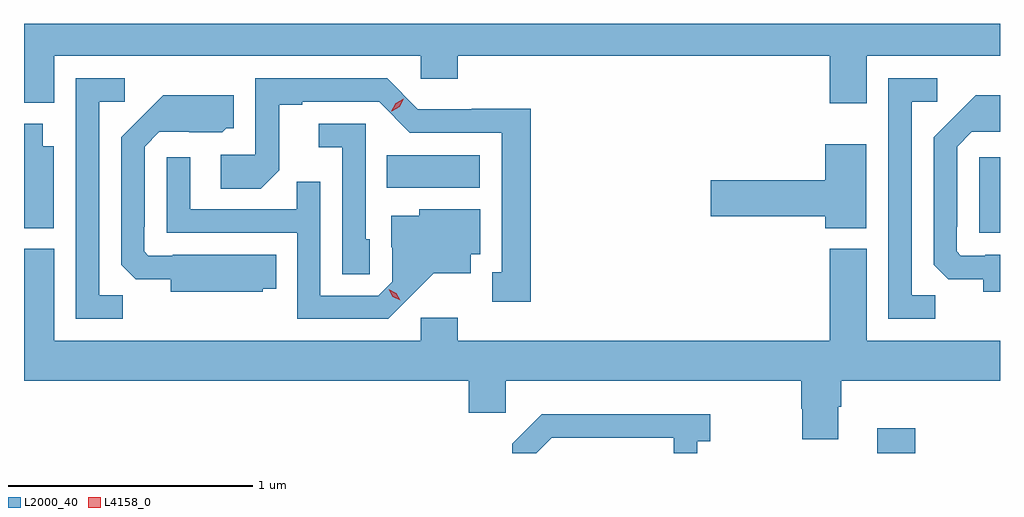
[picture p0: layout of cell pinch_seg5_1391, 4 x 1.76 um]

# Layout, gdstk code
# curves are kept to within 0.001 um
import gdstk
lib = gdstk.Library(unit=1e-6, precision=1e-09)
def R(c, l, rs):  # rectangles x0, y0, x1, y1
    for r in rs: c.add(gdstk.rectangle(r[:2], r[2:], *l))
def P(c, l, *ps):  # polygons
    for p in ps: c.add(gdstk.Polygon(p, *l))
L2000_40 = (2000, 40)
L4158_0 = (4158, 0)

pinch_seg5_1391 = lib.new_cell('pinch_seg5_1391')
R(pinch_seg5_1391, L2000_40, [(126.947,913.74,127.103,913.843), (127.365,914.643,127.45,914.953), (124.936,914.828,125.317,914.962)])
P(pinch_seg5_1391, L2000_40, [(126.904,915.368),(127.45,915.368),(127.45,915.5),(123.45,915.5),(123.45,915.176),(123.574,915.176),(123.574,915.368),(125.076,915.368),(125.076,915.275),(125.228,915.275),(125.228,915.368),(126.752,915.368),(126.752,915.174),(126.904,915.174)],
  [(127.185,914.387),(127.089,914.387),(127.089,915.18),(127.192,915.18),(127.192,915.276),(126.993,915.276),(126.993,914.292),(127.185,914.292)],
  [(125.527,915.152),(125.286,915.152),(125.286,915.15),(125.064,915.15),(124.938,915.276),(124.398,915.276),(124.398,914.964),(124.257,914.964),(124.257,914.824),(124.421,914.824),(124.497,914.9),(124.497,915.168),(124.591,915.168),(124.591,915.18),(124.905,915.18),(125.031,915.054),(125.408,915.054),(125.408,914.481),(125.369,914.481),(125.369,914.361),(125.527,914.361)],
  [(123.855,914.387),(123.759,914.387),(123.759,915.18),(123.862,915.18),(123.862,915.276),(123.663,915.276),(123.663,914.292),(123.855,914.292)],
  [(127.45,914.554),(127.39,914.554),(127.39,914.55),(127.29,914.55),(127.272,914.568),(127.272,914.668),(127.275,914.668),(127.275,914.997),(127.335,915.057),(127.45,915.057),(127.45,915.208),(127.351,915.208),(127.179,915.034),(127.179,914.512),(127.238,914.453),(127.382,914.453),(127.382,914.402),(127.45,914.402)],
  [(124.428,914.414),(124.484,914.414),(124.484,914.554),(124.06,914.554),(124.06,914.55),(123.96,914.55),(123.942,914.568),(123.942,914.668),(123.945,914.668),(123.945,914.997),(124.005,915.057),(124.262,915.056),(124.278,915.072),(124.309,915.072),(124.309,915.208),(124.021,915.208),(123.849,915.034),(123.849,914.512),(123.908,914.453),(124.052,914.453),(124.052,914.402),(124.428,914.402)],
  [(123.571,914.998),(123.526,914.998),(123.526,915.091),(123.45,915.091),(123.45,914.663),(123.571,914.663)],
  [(124.866,914.616),(124.851,914.616),(124.851,915.09),(124.659,915.09),(124.659,914.993),(124.755,914.993),(124.755,914.473),(124.866,914.473)],
  [(126.901,915.007),(126.734,915.007),(126.734,914.858),(126.264,914.858),(126.264,914.711),(126.734,914.711),(126.734,914.663),(126.901,914.663)],
  [(125.026,914.375),(125.129,914.477),(125.281,914.477),(125.281,914.556),(125.32,914.556),(125.32,914.74),(125.07,914.74),(125.07,914.713),(124.955,914.713),(124.955,914.584),(124.959,914.584),(124.959,914.442),(124.902,914.385),(124.665,914.385),(124.665,914.852),(124.567,914.852),(124.567,914.739),(124.131,914.739),(124.131,914.953),(124.035,914.953),(124.035,914.643),(124.569,914.643),(124.569,914.292),(124.942,914.292)],
  [(126.787,913.93),(126.8,913.93),(126.8,914.036),(127.45,914.036),(127.45,914.2),(126.904,914.2),(126.904,914.578),(126.752,914.578),(126.752,914.2),(125.228,914.2),(125.228,914.296),(125.076,914.296),(125.076,914.2),(123.574,914.2),(123.574,914.578),(123.45,914.578),(123.45,914.036),(125.273,914.036),(125.273,913.905),(125.424,913.905),(125.424,914.036),(126.635,914.036),(126.635,913.923),(126.64,913.923),(126.64,913.798),(126.787,913.798)],
  [(125.613,913.803),(126.113,913.803),(126.113,913.74),(126.21,913.74),(126.21,913.79),(126.262,913.79),(126.262,913.9),(125.572,913.9),(125.451,913.779),(125.451,913.74),(125.55,913.74)])
P(pinch_seg5_1391, L4158_0, [(124.956,915.142),(124.956,915.142),(124.974,915.174),(125.006,915.193),(125.006,915.193),(125.006,915.193),(124.989,915.16),(124.957,915.142)],
  [(124.993,914.367),(124.962,914.382),(124.945,914.411),(124.945,914.411),(124.945,914.411),(124.976,914.396),(124.993,914.367),(124.993,914.367)])

lib.write_gds('pinch_seg5_1391.gds')
